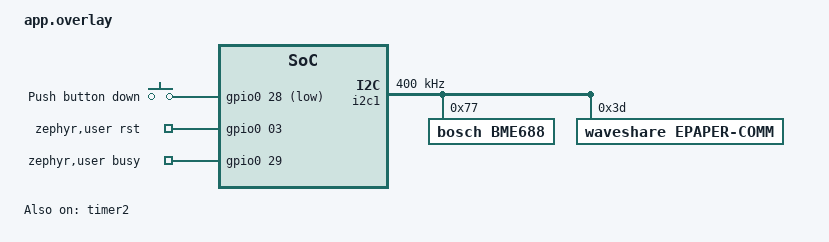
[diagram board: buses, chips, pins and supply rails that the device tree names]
/*
 * Copyright (c) 2022 Nordic Semiconductor ASA
 *
 * SPDX-License-Identifier: LicenseRef-Nordic-5-Clause
 */

/ {
	chosen {
		ncs,zigbee-timer = &timer2;
	};

    buttons {
        compatible = "gpio-keys";
        buttonW: button_W {
            label = "Push button down";
            gpios = <&gpio0 28 (GPIO_PULL_UP | GPIO_ACTIVE_LOW)>;
        };
    };

    zephyr,user {
    	rst-gpios = <&gpio0 03 GPIO_ACTIVE_HIGH>;
    	busy-gpios = <&gpio0 29 GPIO_ACTIVE_HIGH>;
   	};
};

&i2c1 {
	/* */
	compatible = "nordic,nrf-twim";
	status = "okay";
	clock-frequency = <I2C_BITRATE_FAST>;

	pinctrl-0 = <&i2c1_default>;
	pinctrl-1 = <&i2c1_sleep>;
	pinctrl-names = "default", "sleep";
	status = "okay";

	bme688@77 {
		compatible = "bosch,bme688";
		reg = <0x77>;
	};

	epaper-comm@3D {
		compatible = "waveshare,epaper-comm";
		reg = <0x3D>;
	};
};

&timer2 {
	status = "okay";
};

/* Disable unused peripherals to reduce power consumption */
&pwm0 {
	status = "disabled";
};
&pwm1 {
	status = "disabled";
};

&gpio0 {
	status = "okay";
	sense-edge-mask = < 0xffffffff >;
};

/* Disable the other spi interfaces to avoid conflicts.
 * The interfaces below are a super set of the interfaces used
 * by the xiao_ble board in zephyr 3.2 & 3.3.
 */

&spi0 {
	status = "disabled";
};

&spi1 {
	status = "disabled";
};

&spi2 {
	status = "disabled";
};

&spi3 {
	status = "disabled";
};

&qspi {
	status = "disabled";
};
